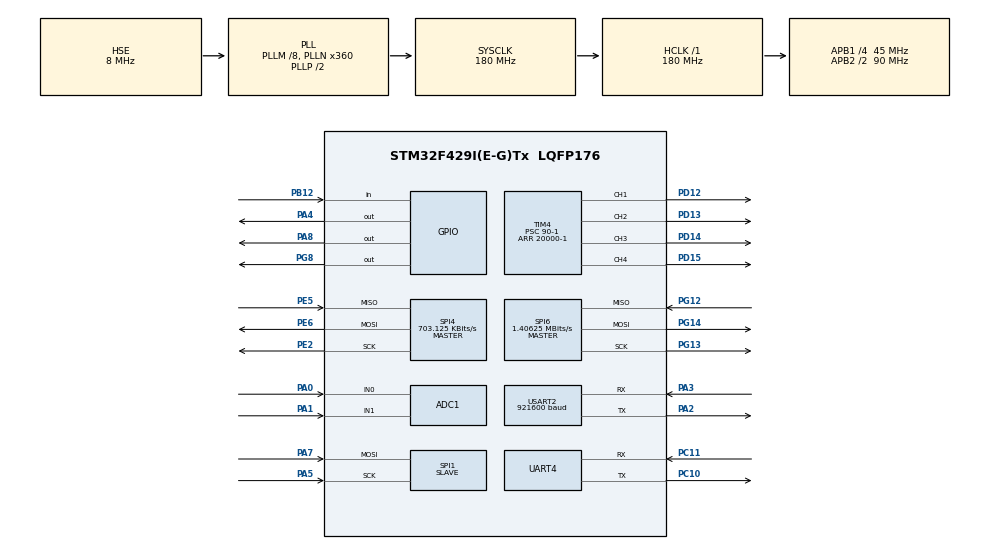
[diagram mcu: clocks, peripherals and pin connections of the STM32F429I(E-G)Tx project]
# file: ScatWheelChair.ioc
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ADC1.Channel-1\#ChannelRegularConversion=ADC_CHANNEL_0
ADC1.Channel-2\#ChannelRegularConversion=ADC_CHANNEL_1
ADC1.ClockPrescaler=ADC_CLOCK_SYNC_PCLK_DIV8
ADC1.ContinuousConvMode=ENABLE
ADC1.DMAContinuousRequests=ENABLE
ADC1.NbrOfConversion=2
ADC1.NbrOfConversionFlag=1
ADC1.Rank-1\#ChannelRegularConversion=1
ADC1.Rank-2\#ChannelRegularConversion=2
ADC1.SamplingTime-1\#ChannelRegularConversion=ADC_SAMPLETIME_112CYCLES
ADC1.SamplingTime-2\#ChannelRegularConversion=ADC_SAMPLETIME_112CYCLES
ADC1.ScanConvMode=ENABLE
ADC1.master=1
Dma.ADC1.0.Direction=DMA_PERIPH_TO_MEMORY
Dma.ADC1.0.FIFOMode=DMA_FIFOMODE_DISABLE
Dma.ADC1.0.Instance=DMA2_Stream0
Dma.ADC1.0.MemDataAlignment=DMA_MDATAALIGN_HALFWORD
Dma.ADC1.0.MemInc=DMA_MINC_ENABLE
Dma.ADC1.0.Mode=DMA_CIRCULAR
Dma.ADC1.0.PeriphDataAlignment=DMA_PDATAALIGN_HALFWORD
Dma.ADC1.0.PeriphInc=DMA_PINC_DISABLE
Dma.ADC1.0.Priority=DMA_PRIORITY_LOW
Dma.Request0=ADC1
Dma.Request1=USART2_RX
Dma.Request2=USART2_TX
Dma.Request3=SPI1_RX
Dma.SPI1_RX.3.Direction=DMA_PERIPH_TO_MEMORY
Dma.SPI1_RX.3.FIFOMode=DMA_FIFOMODE_DISABLE
Dma.SPI1_RX.3.Instance=DMA2_Stream2
Dma.SPI1_RX.3.MemDataAlignment=DMA_MDATAALIGN_BYTE
Dma.SPI1_RX.3.MemInc=DMA_MINC_ENABLE
Dma.SPI1_RX.3.Mode=DMA_CIRCULAR
Dma.SPI1_RX.3.PeriphDataAlignment=DMA_PDATAALIGN_BYTE
Dma.SPI1_RX.3.PeriphInc=DMA_PINC_DISABLE
Dma.SPI1_RX.3.Priority=DMA_PRIORITY_LOW
Dma.USART2_RX.1.Direction=DMA_PERIPH_TO_MEMORY
Dma.USART2_RX.1.FIFOMode=DMA_FIFOMODE_DISABLE
Dma.USART2_RX.1.Instance=DMA1_Stream5
Dma.USART2_RX.1.MemDataAlignment=DMA_MDATAALIGN_BYTE
Dma.USART2_RX.1.MemInc=DMA_MINC_ENABLE
Dma.USART2_RX.1.Mode=DMA_NORMAL
Dma.USART2_RX.1.PeriphDataAlignment=DMA_PDATAALIGN_BYTE
Dma.USART2_RX.1.PeriphInc=DMA_PINC_DISABLE
Dma.USART2_RX.1.Priority=DMA_PRIORITY_HIGH
Dma.USART2_TX.2.Direction=DMA_MEMORY_TO_PERIPH
Dma.USART2_TX.2.FIFOMode=DMA_FIFOMODE_DISABLE
Dma.USART2_TX.2.Instance=DMA1_Stream6
Dma.USART2_TX.2.MemDataAlignment=DMA_MDATAALIGN_BYTE
Dma.USART2_TX.2.MemInc=DMA_MINC_ENABLE
Dma.USART2_TX.2.Mode=DMA_NORMAL
Dma.USART2_TX.2.PeriphDataAlignment=DMA_PDATAALIGN_BYTE
Dma.USART2_TX.2.PeriphInc=DMA_PINC_DISABLE
Dma.USART2_TX.2.Priority=DMA_PRIORITY_HIGH
Mcu.Family=STM32F4
Mcu.Name=STM32F429I(E-G)Tx
Mcu.Package=LQFP176
NVIC.ADC_IRQn=true\:1\:0\:true\:false\:true\:true\:true
NVIC.DMA1_Stream5_IRQn=true\:1\:0\:true\:false\:true\:false\:true
NVIC.DMA1_Stream6_IRQn=true\:1\:0\:true\:false\:true\:false\:true
NVIC.DMA2_Stream0_IRQn=true\:1\:0\:true\:false\:true\:false\:true
NVIC.DMA2_Stream2_IRQn=true\:0\:0\:false\:false\:true\:false\:true
NVIC.PriorityGroup=NVIC_PRIORITYGROUP_4
NVIC.SPI1_IRQn=true\:0\:0\:false\:false\:true\:true\:true
NVIC.USART2_IRQn=true\:1\:0\:true\:false\:true\:true\:true
PA0/WKUP.Signal=ADCx_IN0
PA1.Signal=ADCx_IN1
PA13.Mode=Serial_Wire
PA13.Signal=SYS_JTMS-SWDIO
PA14.Mode=Serial_Wire
PA14.Signal=SYS_JTCK-SWCLK
PA2.Mode=Asynchronous
PA2.Signal=USART2_TX
PA3.Mode=Asynchronous
PA3.Signal=USART2_RX
PA4.GPIO_PuPd=GPIO_PULLUP
PA4.GPIO_Speed=GPIO_SPEED_FREQ_VERY_HIGH
PA4.Signal=GPIO_Output
PA5.GPIO_PuPd=GPIO_NOPULL
PA5.Mode=RX_Only_Simplex_Unidirect_Slave
PA5.Signal=SPI1_SCK
PA7.Mode=RX_Only_Simplex_Unidirect_Slave
PA7.Signal=SPI1_MOSI
PA8.GPIO_PuPd=GPIO_PULLDOWN
PA8.GPIO_Speed=GPIO_SPEED_FREQ_VERY_HIGH
PA8.PinState=GPIO_PIN_SET
PA8.Signal=GPIO_Output
PB12.GPIO_PuPd=GPIO_NOPULL
PB12.Signal=GPIO_Input
PC10.Mode=Asynchronous
PC10.Signal=UART4_TX
PC11.Mode=Asynchronous
PC11.Signal=UART4_RX
PD12.Signal=S_TIM4_CH1
PD13.Signal=S_TIM4_CH2
PD14.Signal=S_TIM4_CH3
PD15.Signal=S_TIM4_CH4
PE2.Mode=Full_Duplex_Master
PE2.Signal=SPI4_SCK
PE5.Mode=Full_Duplex_Master
PE5.Signal=SPI4_MISO
PE6.Mode=Full_Duplex_Master
PE6.Signal=SPI4_MOSI
PG12.Mode=Full_Duplex_Master
PG12.Signal=SPI6_MISO
PG13.Mode=Full_Duplex_Master
PG13.Signal=SPI6_SCK
PG14.Mode=Full_Duplex_Master
PG14.Signal=SPI6_MOSI
PG8.GPIO_PuPd=GPIO_PULLUP
PG8.GPIO_Speed=GPIO_SPEED_FREQ_VERY_HIGH
PG8.Signal=GPIO_Output
PH0/OSC_IN.Mode=HSE-External-Oscillator
PH0/OSC_IN.Signal=RCC_OSC_IN
PH1/OSC_OUT.Mode=HSE-External-Oscillator
PH1/OSC_OUT.Signal=RCC_OSC_OUT
ProjectManager.HeapSize=0x200
ProjectManager.StackSize=0x400
ProjectManager.TargetToolchain=STM32CubeIDE
RCC.48MHZClocksFreq_Value=90000000
RCC.AHBFreq_Value=180000000
RCC.APB1CLKDivider=RCC_HCLK_DIV4
RCC.APB1Freq_Value=45000000
RCC.APB1TimFreq_Value=90000000
RCC.APB2CLKDivider=RCC_HCLK_DIV2
RCC.APB2Freq_Value=90000000
RCC.APB2TimFreq_Value=180000000
RCC.CortexFreq_Value=180000000
RCC.HCLKFreq_Value=180000000
RCC.HSE_VALUE=8000000
RCC.HSI_VALUE=16000000
RCC.LSE_VALUE=32768
RCC.PLLM=8
RCC.PLLN=360
RCC.PLLSourceVirtual=RCC_PLLSOURCE_HSE
RCC.SYSCLKFreq_VALUE=180000000
RCC.SYSCLKSource=RCC_SYSCLKSOURCE_PLLCLK
RCC.VCOOutputFreq_Value=360000000
SH.ADCx_IN0.0=ADC1_IN0,IN0
SH.ADCx_IN1.0=ADC1_IN1,IN1
SH.S_TIM4_CH1.0=TIM4_CH1,PWM Generation1 CH1
SH.S_TIM4_CH2.0=TIM4_CH2,PWM Generation2 CH2
SH.S_TIM4_CH3.0=TIM4_CH3,PWM Generation3 CH3
SH.S_TIM4_CH4.0=TIM4_CH4,PWM Generation4 CH4
SPI1.CLKPolarity=SPI_POLARITY_LOW
SPI1.CRCCalculation=SPI_CRCCALCULATION_DISABLE
SPI1.Direction=SPI_DIRECTION_2LINES_RXONLY
SPI1.FirstBit=SPI_FIRSTBIT_MSB
SPI1.Mode=SPI_MODE_SLAVE
SPI1.VirtualType=VM_SLAVE
SPI4.BaudRatePrescaler=SPI_BAUDRATEPRESCALER_128
SPI4.CLKPhase=SPI_PHASE_2EDGE
SPI4.CLKPolarity=SPI_POLARITY_HIGH
SPI4.CalculateBaudRate=703.125 KBits/s
SPI4.Direction=SPI_DIRECTION_2LINES
SPI4.Mode=SPI_MODE_MASTER
SPI4.VirtualType=VM_MASTER
SPI6.BaudRatePrescaler=SPI_BAUDRATEPRESCALER_64
SPI6.CRCCalculation=SPI_CRCCALCULATION_DISABLE
SPI6.CalculateBaudRate=1.40625 MBits/s
SPI6.Direction=SPI_DIRECTION_2LINES
SPI6.Mode=SPI_MODE_MASTER
SPI6.VirtualType=VM_MASTER
TIM4.AutoReloadPreload=TIM_AUTORELOAD_PRELOAD_ENABLE
TIM4.Channel-PWM\ Generation1\ CH1=TIM_CHANNEL_1
TIM4.Channel-PWM\ Generation2\ CH2=TIM_CHANNEL_2
TIM4.Channel-PWM\ Generation3\ CH3=TIM_CHANNEL_3
TIM4.Channel-PWM\ Generation4\ CH4=TIM_CHANNEL_4
TIM4.Period=20000-1
TIM4.Prescaler=90-1
TIM4.Pulse-PWM\ Generation1\ CH1=1500
TIM4.Pulse-PWM\ Generation2\ CH2=1500
TIM4.Pulse-PWM\ Generation3\ CH3=1500
TIM4.Pulse-PWM\ Generation4\ CH4=1500
UART4.OverSampling=UART_OVERSAMPLING_8
UART4.VirtualMode=Asynchronous
USART2.BaudRate=921600
USART2.VirtualMode=VM_ASYNC
VP_TIM4_VS_ClockSourceINT.Mode=Internal
board=custom

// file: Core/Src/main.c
/* USER CODE BEGIN Header */
/**
 ******************************************************************************
 * @file           : main.c
 * @brief          : Main program body
 ******************************************************************************
 * @attention
 *
 * <h2><center>&copy; Copyright (c) 2020 STMicroelectronics.
 * All rights reserved.</center></h2>
 *
 * This software component is licensed by ST under BSD 3-Clause license,
 * the "License"; You may not use this file except in compliance with the
 * License. You may obtain a copy of the License at:
 *                        opensource.org/licenses/BSD-3-Clause
 *
 ******************************************************************************
 */
/* USER CODE END Header */
#include "main.h"

/* USER CODE BEGIN Includes */
#include <imu.h>
#include <encoder.h>
#include <pid.h>
#include <math.h>
#include <stdio.h>
//#include <bno055.h>
#include <dwt_delay.h>
/* USER CODE END Includes */

/* USER CODE BEGIN PD */
#define ROS_UART huart2
#define BRAKE_TIM htim4
#define BRAKE_CHANNEL CCR4
#define MOTOR_TIM htim4
#define LEFT_MOTOR_CHANNEL CCR3
#define RIGHT_MOTOR_CHANNEL CCR1

/* USER CODE END PD */

ADC_HandleTypeDef hadc1;
DMA_HandleTypeDef hdma_adc1;

SPI_HandleTypeDef hspi1;
SPI_HandleTypeDef hspi4;
SPI_HandleTypeDef hspi6;
DMA_HandleTypeDef hdma_spi1_rx;

TIM_HandleTypeDef htim4;

UART_HandleTypeDef huart4;
UART_HandleTypeDef huart2;
DMA_HandleTypeDef hdma_usart2_rx;
DMA_HandleTypeDef hdma_usart2_tx;

/* USER CODE BEGIN PV */
//Variables to store raw data from various sensors and uart
uint32_t joystick_raw;
int16_t acc[3], gyro[3];
uint16_t encoder[2];
uint8_t data_from_ros_raw[SIZE_DATA_FROM_ROS] = { 0 };

uint16_t e_stop = 1;

//Variables to store processed data
uint16_t joystick[2];
double joystick_filter = 0.025;
float velocity[2];
int16_t data_from_ros[SIZE_DATA_FROM_ROS / 2];

int16_t motor_command[2] = { 0 };
uint16_t data_to_ros[SIZE_DATA_TO_ROS] = { 0 };
uint8_t braked = 1; //Stores the brake status of left and right motors
double filtered_setpoint[2] = { 0 };
double setpoint_vel[2];
uint32_t brake_timer = 0;
uint32_t prev_uart_time = 0;
double engage_brakes_timeout = 5; //5s
double angular_output = 0;

//Velocity stuff
double target_heading, curr_heading;

//PID struct and their tunings. There's one PID controller for each motor
PID_Struct left_pid, right_pid, left_ramp_pid, right_ramp_pid, left_d_ramp_pid,
		right_d_ramp_pid;
double p = 0.0, i = 100.0, d = 0.0, f = 340, max_i_output = 40;
double pid_freq = 500;

//Feedforward outputs from experimental data, at x speed, what feedforward factor is required
//0.1 = 500, 0.2 = 450, 0.5 = 350, 0.7 = 320, 0.9 = 320
//Feedforward equation to line fit = y=290(x-0.9)^2 + 310

//Added for spi stm32
typedef union {
	float b32;		//original data
	uint8_t b8[4];	//data in byte size
} floatuint8_t;

uint32_t total_receive_num = 0;
uint32_t correct_receive_num = 0;
uint32_t incorrect_receive_num = 0;
uint32_t reset_num = 0;
uint8_t spi_rx_buf[11] = { 0 };
volatile floatuint8_t spi_enc[2] = { 0 };
uint32_t spi_rx_t = 0;
uint32_t diff_t = 0;
float prev_vel[2] = {0};
#define EXPONENTIAL_ALPHA 0.85

/* USER CODE END PV */

void SystemClock_Config(void);
static void MX_GPIO_Init(void);
static void MX_DMA_Init(void);
static void MX_TIM4_Init(void);
static void MX_ADC1_Init(void);
static void MX_SPI1_Init(void);
static void MX_USART2_UART_Init(void);
static void MX_SPI6_Init(void);
static void MX_SPI4_Init(void);
static void MX_UART4_Init(void);
/* USER CODE BEGIN PFP */
void setBrakes();
/* USER CODE END PFP */

int main(void) {

	/* MCU Configuration--------------------------------------------------------*/

	/* Reset of all peripherals, Initializes the Flash interface and the Systick. */
	HAL_Init();

	/* Configure the system clock */
	SystemClock_Config();

	/* USER CODE BEGIN SysInit */
	//Configure systick_callback rate and registration
	HAL_SYSTICK_Config(HAL_RCC_GetHCLKFreq() / FREQUENCY);
	HAL_SYSTICK_CLKSourceConfig(SYSTICK_CLKSOURCE_HCLK);
	HAL_NVIC_SetPriority(SysTick_IRQn, 0, 0);

	//Delay required for SPI encoder to startup
	HAL_Delay(100);
	/* USER CODE END SysInit */

	/* Initialize all configured peripherals */
	MX_GPIO_Init();
	MX_DMA_Init();
	MX_TIM4_Init();
	MX_ADC1_Init();
	MX_SPI1_Init();
	MX_USART2_UART_Init();
	MX_SPI6_Init();
	MX_SPI4_Init();
	MX_UART4_Init();
	/* USER CODE BEGIN 2 */
//  DWT_Init();
	//Start motor PWM pins
	HAL_TIM_Base_Start(&MOTOR_TIM);
	HAL_TIM_PWM_Start(&MOTOR_TIM, TIM_CHANNEL_1);
	HAL_TIM_PWM_Start(&MOTOR_TIM, TIM_CHANNEL_2);
	HAL_TIM_PWM_Start(&MOTOR_TIM, TIM_CHANNEL_3);

	//Start brake PWM pins
	HAL_TIM_PWM_Start(&BRAKE_TIM, TIM_CHANNEL_4);

	//Engage brakes
	BRAKE_TIM.Instance->BRAKE_CHANNEL = 1000;

	//Initialize IMU, check that it is connected
	IMU_Init();

	//Initialize BNO055
//  BNO055Init();

	//Start UART output
	HAL_UART_Transmit_DMA(&ROS_UART, (uint8_t*) data_to_ros,
			(uint16_t) SIZE_DATA_TO_ROS * 2);
	HAL_UART_Receive_DMA(&ROS_UART, data_from_ros_raw, SIZE_DATA_FROM_ROS);

	//********* WHEEL PID *********//
	double base_left_ramp_rate = 100;
	double base_right_ramp_rate = 100;
	double base_left_d_ramp_rate = 150;
	double base_right_d_ramp_rate = 150;

	//Setup right wheel PID
	PID_Init(&right_pid);
	PID_setPIDF(&right_pid, p, i, d, f);
	PID_setMaxIOutput(&right_pid, max_i_output);
	PID_setOutputLimits(&right_pid, -500, 500);
	PID_setFrequency(&right_pid, pid_freq);
	PID_setOutputRampRate(&right_pid, base_right_ramp_rate);
	PID_setOutputDescentRate(&right_pid, -base_right_d_ramp_rate);

	//Setup left wheel PID
	PID_Init(&left_pid);
	PID_setPIDF(&left_pid, p, i, d, f);
	PID_setMaxIOutput(&left_pid, max_i_output);
	PID_setOutputLimits(&left_pid, -500, 500);
	PID_setFrequency(&left_pid, pid_freq);
	PID_setOutputRampRate(&left_pid, base_left_ramp_rate);
	PID_setOutputDescentRate(&left_pid, -base_left_d_ramp_rate);

	//********* WHEEL ACCEL RAMP PID *********//
	double right_ramp_p = 100;
	double left_ramp_p = 100;
	double max_ramp_rate_inc = 300;
	//Setup right wheel ramp PID
	PID_Init(&right_ramp_pid);
	PID_setPIDF(&right_ramp_pid, right_ramp_p, 0, 0, 0);
	PID_setOutputLimits(&right_ramp_pid, 0, 400);
	PID_setOutputRampRate(&right_ramp_pid, max_ramp_rate_inc);
	PID_setOutputDescentRate(&right_ramp_pid, -max_ramp_rate_inc);
	PID_setFrequency(&right_ramp_pid, pid_freq);

	//Setup left wheel ramp PID
	PID_Init(&left_ramp_pid);
	PID_setPIDF(&left_ramp_pid, left_ramp_p, 0, 0, 0);
	PID_setOutputLimits(&left_ramp_pid, 0, 400);
	PID_setOutputRampRate(&left_ramp_pid, max_ramp_rate_inc);
	PID_setOutputDescentRate(&left_ramp_pid, -max_ramp_rate_inc);
	PID_setFrequency(&left_ramp_pid, pid_freq);

	//********* WHEEL DECEL RAMP PID *********//
	double right_d_ramp_p = 100;
	double left_d_ramp_p = 150;
	double right_max_d_ramp_rate_inc = 200;
	double left_max_d_ramp_rate_inc = 200;
	double max_d_increase = 550;
	//Setup right wheel d ramp PID
	PID_Init(&right_d_ramp_pid);
	PID_setPIDF(&right_d_ramp_pid, right_d_ramp_p, 0, 0, 0);
	PID_setOutputLimits(&right_d_ramp_pid, 0, max_d_increase);
	PID_setOutputRampRate(&right_d_ramp_pid, right_max_d_ramp_rate_inc);
	PID_setOutputDescentRate(&right_d_ramp_pid, -right_max_d_ramp_rate_inc);
	PID_setFrequency(&right_d_ramp_pid, pid_freq);

	//Setup left wheel d ramp PID
	PID_Init(&left_d_ramp_pid);
	PID_setPIDF(&left_d_ramp_pid, left_d_ramp_p, 0, 0, 0);
	PID_setOutputLimits(&left_d_ramp_pid, 0, max_d_increase);
	PID_setOutputRampRate(&left_d_ramp_pid, left_max_d_ramp_rate_inc);
	PID_setOutputDescentRate(&left_d_ramp_pid, -left_max_d_ramp_rate_inc);
	PID_setFrequency(&left_d_ramp_pid, pid_freq);

	HAL_SPI_Receive_DMA(&hspi1, spi_rx_buf, sizeof(spi_rx_buf));
	/* USER CODE END 2 */

	/* Infinite loop */
	/* USER CODE BEGIN WHILE */
	uint32_t prev_time = HAL_GetTick();
	while (1) {
		//Loop should execute once every 1 tick
		if (HAL_GetTick() - prev_time >= 1) {
			imuRead(acc, gyro, 0.2);
			e_stop = HAL_GPIO_ReadPin(GPIOB, GPIO_PIN_12);

			if (incorrect_receive_num > 100) {
				//Restart transmission
				HAL_SPI_Abort_IT(&hspi1);
				HAL_SPI_Receive_DMA(&hspi1, spi_rx_buf, sizeof(spi_rx_buf));
				incorrect_receive_num = 0;
				reset_num++;
			}
			else if(HAL_GetTick() - spi_rx_t  > 100){
				HAL_SPI_Receive_DMA(&hspi1, spi_rx_buf, sizeof(spi_rx_buf));
			}

			//use speed from data_from_ros array, pass on to motors, ensure the data is valid by checking end bit
			if ((uint16_t) data_from_ros[SIZE_DATA_FROM_ROS / 2 - 1]
					== 0xFFFB) {
				//Data received from ros is integer format, multiplied by 1000
				setpoint_vel[LEFT_INDEX] = (double) data_from_ros[0] / 1000.0;
				setpoint_vel[RIGHT_INDEX] = (double) data_from_ros[1] / 1000.0;

				//Heading is synonymous to radius of curvature for given velocity pair
				double target_angular = (setpoint_vel[RIGHT_INDEX]
						- setpoint_vel[LEFT_INDEX]);
				double curr_angular = (velocity[RIGHT_INDEX]
						- velocity[LEFT_INDEX]);
				double target_linear = (setpoint_vel[RIGHT_INDEX]
						+ setpoint_vel[LEFT_INDEX]) / 2.0;
				double curr_linear = (velocity[RIGHT_INDEX]
						+ velocity[LEFT_INDEX]) / 2.0;
				target_heading = atan2(target_linear, target_angular);
				curr_heading = atan2(curr_linear, curr_angular);

				//This case might happen when curr_heading is M_PI and target_heading is -M_PI
				//In this case, both values should be equal signs
				if (target_heading == M_PI || curr_heading == M_PI) {
					curr_heading = fabs(curr_heading);
					target_heading = fabs(target_heading);
				}

				//When angular_output negative, right wheel is slower
				//When angular_output positive, left wheel is slower
				double new_angular_output = (target_heading - curr_heading)
						/ M_PI;
				int sign = new_angular_output / fabs(new_angular_output);

				//Sigmoid curve to make new_angular_output more sensitive in mid range (~0.5)
				//~0.5 is max value that occurs when going from pure rotation to pure forward
				new_angular_output = 1
						/ (1 + exp(-15 * (fabs(new_angular_output) - 0.35)))
						* sign;

				//Small velocities cause large changes to heading due to noise
				//Set difference to 0 if below threshold, no correction
				if (fabs(velocity[LEFT_INDEX]) < 0.1
						&& fabs(velocity[RIGHT_INDEX]) < 0.1)
					new_angular_output = 0;

				double angular_output_filt = 0.0;
				angular_output = angular_output_filt * (angular_output)
						+ (1 - angular_output_filt) * new_angular_output;
				//Amount of penalty to setpoint depends on how far away from the target heading
				//Scale may increase over 100%, but does not matter as the heading approaches target heading
				//scale will approach 100%
				if (setpoint_vel[LEFT_INDEX] != 0.0
						|| setpoint_vel[RIGHT_INDEX] != 0.0) {
					setpoint_vel[LEFT_INDEX] *= (1 + angular_output);
					setpoint_vel[RIGHT_INDEX] *= (1 - angular_output);
				}

				/**
				 * Motor FEEDFORWARD params
				 */
				double f_left = 290
						* pow(fabs(setpoint_vel[LEFT_INDEX]) - 0.9, 2) + 310;
				double f_right = 290
						* pow(fabs(setpoint_vel[RIGHT_INDEX]) - 0.9, 2) + 310;

				//Upper bound on feedforward equation
				if (setpoint_vel[LEFT_INDEX] > 1.0)
					f_left = 310;
				if (setpoint_vel[RIGHT_INDEX] > 1.0)
					f_right = 310;

				PID_setF(&left_pid, f_left);
				PID_setF(&right_pid, f_right);

				//If e stop engaged, override setpoints to 0
				if (e_stop == 1) {
					setpoint_vel[LEFT_INDEX] = 0;
					setpoint_vel[RIGHT_INDEX] = 0;
				}

				//If data is old, set setpoint to 0
				else if ((HAL_GetTick() - prev_uart_time) > FREQUENCY * 0.2) {
					setpoint_vel[LEFT_INDEX] = 0;
					setpoint_vel[RIGHT_INDEX] = 0;
					HAL_UART_Receive_DMA(&ROS_UART, data_from_ros_raw,
					SIZE_DATA_FROM_ROS);
				}

				//Unbrake motors if there is command, brake otherwise
				setBrakes();

				//Ensure there is a commanded velocity, otherwise reset PID
				if (fabs(setpoint_vel[LEFT_INDEX]) == 0
						&& fabs(velocity[LEFT_INDEX]) < 0.05) {
					motor_command[LEFT_INDEX] = 0;
					PID_reset(&left_pid);
				}

				else if (!braked) {
					//ACCELERATE
					{
						double new_left_ramp = base_left_ramp_rate
								+ PID_getOutput(&left_ramp_pid,
										fabs(velocity[LEFT_INDEX]),
										fabs(setpoint_vel[LEFT_INDEX]));
						PID_setOutputRampRate(&left_pid, new_left_ramp);
					}

					//DECELERATE
					{
						double new_left_ramp = base_left_d_ramp_rate
								+ PID_getOutput(&left_d_ramp_pid,
										fabs(setpoint_vel[LEFT_INDEX]),
										fabs(velocity[LEFT_INDEX]));
						PID_setOutputDescentRate(&left_pid, -new_left_ramp);
					}

					motor_command[LEFT_INDEX] = PID_getOutput(&left_pid,
							velocity[LEFT_INDEX], setpoint_vel[LEFT_INDEX]);
				}

				//Ensure there is a commanded velocity, otherwise reset PID
				if (fabs(setpoint_vel[RIGHT_INDEX]) == 0
						&& fabs(velocity[RIGHT_INDEX]) < 0.05) {
					motor_command[RIGHT_INDEX] = 0;
					PID_reset(&right_pid);
				}

				else if (!braked) {

					//ACCELERATE
					{
						double new_right_ramp = base_right_ramp_rate
								+ PID_getOutput(&right_ramp_pid,
										fabs(velocity[RIGHT_INDEX]),
										fabs(setpoint_vel[RIGHT_INDEX]));
						PID_setOutputRampRate(&right_pid, new_right_ramp);
					}

					//DECELERATE
					{
						double new_right_ramp = base_right_d_ramp_rate
								+ PID_getOutput(&right_d_ramp_pid,
										fabs(setpoint_vel[RIGHT_INDEX]),
										fabs(velocity[RIGHT_INDEX]));
						PID_setOutputDescentRate(&right_pid, -new_right_ramp);
					}

					motor_command[RIGHT_INDEX] = PID_getOutput(&right_pid,
							velocity[RIGHT_INDEX], setpoint_vel[RIGHT_INDEX]);
				}

				//Send PID commands to motor
				MOTOR_TIM.Instance->RIGHT_MOTOR_CHANNEL =
						motor_command[LEFT_INDEX] + 1500;
				MOTOR_TIM.Instance->LEFT_MOTOR_CHANNEL =
						motor_command[RIGHT_INDEX] + 1500;

			}

			prev_time = HAL_GetTick();
		}
		/* USER CODE END WHILE */

	}
}

void SystemClock_Config(void) {
	RCC_OscInitTypeDef RCC_OscInitStruct = { 0 };
	RCC_ClkInitTypeDef RCC_ClkInitStruct = { 0 };

	/** Configure the main internal regulator output voltage
	 */
	__HAL_RCC_PWR_CLK_ENABLE();
	__HAL_PWR_VOLTAGESCALING_CONFIG(PWR_REGULATOR_VOLTAGE_SCALE1);
	/** Initializes the RCC Oscillators according to the specified parameters
	 * in the RCC_OscInitTypeDef structure.
	 */
	RCC_OscInitStruct.OscillatorType = RCC_OSCILLATORTYPE_HSE;
	RCC_OscInitStruct.HSEState = RCC_HSE_ON;
	RCC_OscInitStruct.PLL.PLLState = RCC_PLL_ON;
	RCC_OscInitStruct.PLL.PLLSource = RCC_PLLSOURCE_HSE;
	RCC_OscInitStruct.PLL.PLLM = 8;
	RCC_OscInitStruct.PLL.PLLN = 360;
	RCC_OscInitStruct.PLL.PLLP = RCC_PLLP_DIV2;
	RCC_OscInitStruct.PLL.PLLQ = 4;
	if (HAL_RCC_OscConfig(&RCC_OscInitStruct) != HAL_OK) {
		Error_Handler();
	}
	/** Activate the Over-Drive mode
	 */
	if (HAL_PWREx_EnableOverDrive() != HAL_OK) {
		Error_Handler();
	}
	/** Initializes the CPU, AHB and APB buses clocks
	 */
	RCC_ClkInitStruct.ClockType = RCC_CLOCKTYPE_HCLK | RCC_CLOCKTYPE_SYSCLK
			| RCC_CLOCKTYPE_PCLK1 | RCC_CLOCKTYPE_PCLK2;
	RCC_ClkInitStruct.SYSCLKSource = RCC_SYSCLKSOURCE_PLLCLK;
	RCC_ClkInitStruct.AHBCLKDivider = RCC_SYSCLK_DIV1;
	RCC_ClkInitStruct.APB1CLKDivider = RCC_HCLK_DIV4;
	RCC_ClkInitStruct.APB2CLKDivider = RCC_HCLK_DIV2;

	if (HAL_RCC_ClockConfig(&RCC_ClkInitStruct, FLASH_LATENCY_5) != HAL_OK) {
		Error_Handler();
	}
}

static void MX_ADC1_Init(void) {

	ADC_ChannelConfTypeDef sConfig = { 0 };

	/** Configure the global features of the ADC (Clock, Resolution, Data Alignment and number of conversion)
	 */
	hadc1.Instance = ADC1;
	hadc1.Init.ClockPrescaler = ADC_CLOCK_SYNC_PCLK_DIV8;
	hadc1.Init.Resolution = ADC_RESOLUTION_12B;
	hadc1.Init.ScanConvMode = ENABLE;
	hadc1.Init.ContinuousConvMode = ENABLE;
	hadc1.Init.DiscontinuousConvMode = DISABLE;
	hadc1.Init.ExternalTrigConvEdge = ADC_EXTERNALTRIGCONVEDGE_NONE;
	hadc1.Init.ExternalTrigConv = ADC_SOFTWARE_START;
	hadc1.Init.DataAlign = ADC_DATAALIGN_RIGHT;
	hadc1.Init.NbrOfConversion = 2;
	hadc1.Init.DMAContinuousRequests = ENABLE;
	hadc1.Init.EOCSelection = ADC_EOC_SINGLE_CONV;
	if (HAL_ADC_Init(&hadc1) != HAL_OK) {
		Error_Handler();
	}
	/** Configure for the selected ADC regular channel its corresponding rank in the sequencer and its sample time.
	 */
	sConfig.Channel = ADC_CHANNEL_0;
	sConfig.Rank = 1;
	sConfig.SamplingTime = ADC_SAMPLETIME_112CYCLES;
	if (HAL_ADC_ConfigChannel(&hadc1, &sConfig) != HAL_OK) {
		Error_Handler();
	}
	/** Configure for the selected ADC regular channel its corresponding rank in the sequencer and its sample time.
	 */
	sConfig.Channel = ADC_CHANNEL_1;
	sConfig.Rank = 2;
	if (HAL_ADC_ConfigChannel(&hadc1, &sConfig) != HAL_OK) {
		Error_Handler();
	}
	/* USER CODE BEGIN ADC1_Init 2 */
	HAL_ADC_Start_DMA(&hadc1, &joystick_raw, 2);
	/* USER CODE END ADC1_Init 2 */

}

static void MX_SPI1_Init(void) {

	/* SPI1 parameter configuration*/
	hspi1.Instance = SPI1;
	hspi1.Init.Mode = SPI_MODE_SLAVE;
	hspi1.Init.Direction = SPI_DIRECTION_2LINES_RXONLY;
	hspi1.Init.DataSize = SPI_DATASIZE_8BIT;
	hspi1.Init.CLKPolarity = SPI_POLARITY_LOW;
	hspi1.Init.CLKPhase = SPI_PHASE_1EDGE;
	hspi1.Init.NSS = SPI_NSS_SOFT;
	hspi1.Init.FirstBit = SPI_FIRSTBIT_MSB;
	hspi1.Init.TIMode = SPI_TIMODE_DISABLE;
	hspi1.Init.CRCCalculation = SPI_CRCCALCULATION_DISABLE;
	hspi1.Init.CRCPolynomial = 10;
	if (HAL_SPI_Init(&hspi1) != HAL_OK) {
		Error_Handler();
	}

}

static void MX_SPI4_Init(void) {

	/* SPI4 parameter configuration*/
	hspi4.Instance = SPI4;
	hspi4.Init.Mode = SPI_MODE_MASTER;
	hspi4.Init.Direction = SPI_DIRECTION_2LINES;
	hspi4.Init.DataSize = SPI_DATASIZE_8BIT;
	hspi4.Init.CLKPolarity = SPI_POLARITY_HIGH;
	hspi4.Init.CLKPhase = SPI_PHASE_2EDGE;
	hspi4.Init.NSS = SPI_NSS_SOFT;
	hspi4.Init.BaudRatePrescaler = SPI_BAUDRATEPRESCALER_128;
	hspi4.Init.FirstBit = SPI_FIRSTBIT_MSB;
	hspi4.Init.TIMode = SPI_TIMODE_DISABLE;
	hspi4.Init.CRCCalculation = SPI_CRCCALCULATION_DISABLE;
	hspi4.Init.CRCPolynomial = 10;
	if (HAL_SPI_Init(&hspi4) != HAL_OK) {
		Error_Handler();
	}

}

static void MX_SPI6_Init(void) {

	/* SPI6 parameter configuration*/
	hspi6.Instance = SPI6;
	hspi6.Init.Mode = SPI_MODE_MASTER;
	hspi6.Init.Direction = SPI_DIRECTION_2LINES;
	hspi6.Init.DataSize = SPI_DATASIZE_8BIT;
	hspi6.Init.CLKPolarity = SPI_POLARITY_LOW;
	hspi6.Init.CLKPhase = SPI_PHASE_1EDGE;
	hspi6.Init.NSS = SPI_NSS_SOFT;
	hspi6.Init.BaudRatePrescaler = SPI_BAUDRATEPRESCALER_64;
	hspi6.Init.FirstBit = SPI_FIRSTBIT_MSB;
	hspi6.Init.TIMode = SPI_TIMODE_DISABLE;
	hspi6.Init.CRCCalculation = SPI_CRCCALCULATION_DISABLE;
	hspi6.Init.CRCPolynomial = 10;
	if (HAL_SPI_Init(&hspi6) != HAL_OK) {
		Error_Handler();
	}

}

static void MX_TIM4_Init(void) {

	TIM_ClockConfigTypeDef sClockSourceConfig = { 0 };
	TIM_MasterConfigTypeDef sMasterConfig = { 0 };
	TIM_OC_InitTypeDef sConfigOC = { 0 };

	htim4.Instance = TIM4;
	htim4.Init.Prescaler = 90 - 1;
	htim4.Init.CounterMode = TIM_COUNTERMODE_UP;
	htim4.Init.Period = 20000 - 1;
	htim4.Init.ClockDivision = TIM_CLOCKDIVISION_DIV1;
	htim4.Init.AutoReloadPreload = TIM_AUTORELOAD_PRELOAD_ENABLE;
	if (HAL_TIM_Base_Init(&htim4) != HAL_OK) {
		Error_Handler();
	}
	sClockSourceConfig.ClockSource = TIM_CLOCKSOURCE_INTERNAL;
	if (HAL_TIM_ConfigClockSource(&htim4, &sClockSourceConfig) != HAL_OK) {
		Error_Handler();
	}
	if (HAL_TIM_PWM_Init(&htim4) != HAL_OK) {
		Error_Handler();
	}
	sMasterConfig.MasterOutputTrigger = TIM_TRGO_RESET;
	sMasterConfig.MasterSlaveMode = TIM_MASTERSLAVEMODE_DISABLE;
	if (HAL_TIMEx_MasterConfigSynchronization(&htim4, &sMasterConfig)
			!= HAL_OK) {
		Error_Handler();
	}
	sConfigOC.OCMode = TIM_OCMODE_PWM1;
	sConfigOC.Pulse = 1500;
	sConfigOC.OCPolarity = TIM_OCPOLARITY_HIGH;
	sConfigOC.OCFastMode = TIM_OCFAST_DISABLE;
	if (HAL_TIM_PWM_ConfigChannel(&htim4, &sConfigOC, TIM_CHANNEL_1)
			!= HAL_OK) {
		Error_Handler();
	}
	if (HAL_TIM_PWM_ConfigChannel(&htim4, &sConfigOC, TIM_CHANNEL_2)
			!= HAL_OK) {
		Error_Handler();
	}
	if (HAL_TIM_PWM_ConfigChannel(&htim4, &sConfigOC, TIM_CHANNEL_3)
			!= HAL_OK) {
		Error_Handler();
	}
	if (HAL_TIM_PWM_ConfigChannel(&htim4, &sConfigOC, TIM_CHANNEL_4)
			!= HAL_OK) {
		Error_Handler();
	}
	HAL_TIM_MspPostInit(&htim4);

}

static void MX_UART4_Init(void) {

	huart4.Instance = UART4;
	huart4.Init.BaudRate = 115200;
	huart4.Init.WordLength = UART_WORDLENGTH_8B;
	huart4.Init.StopBits = UART_STOPBITS_1;
	huart4.Init.Parity = UART_PARITY_NONE;
	huart4.Init.Mode = UART_MODE_TX_RX;
	huart4.Init.HwFlowCtl = UART_HWCONTROL_NONE;
	huart4.Init.OverSampling = UART_OVERSAMPLING_8;
	if (HAL_UART_Init(&huart4) != HAL_OK) {
		Error_Handler();
	}

}

static void MX_USART2_UART_Init(void) {

	huart2.Instance = USART2;
//	huart2.Init.BaudRate = 576000;
	huart2.Init.BaudRate = 230400;
	huart2.Init.WordLength = UART_WORDLENGTH_8B;
	huart2.Init.StopBits = UART_STOPBITS_1;
	huart2.Init.Parity = UART_PARITY_NONE;
	huart2.Init.Mode = UART_MODE_TX_RX;
	huart2.Init.HwFlowCtl = UART_HWCONTROL_NONE;
	huart2.Init.OverSampling = UART_OVERSAMPLING_16;
	if (HAL_UART_Init(&huart2) != HAL_OK) {
		Error_Handler();
	}

}

static void MX_DMA_Init(void) {

	/* DMA controller clock enable */
	__HAL_RCC_DMA2_CLK_ENABLE();
	__HAL_RCC_DMA1_CLK_ENABLE();

	/* DMA interrupt init */
	/* DMA1_Stream5_IRQn interrupt configuration */
	HAL_NVIC_SetPriority(DMA1_Stream5_IRQn, 1, 0);
	HAL_NVIC_EnableIRQ(DMA1_Stream5_IRQn);
	/* DMA1_Stream6_IRQn interrupt configuration */
	HAL_NVIC_SetPriority(DMA1_Stream6_IRQn, 1, 0);
	HAL_NVIC_EnableIRQ(DMA1_Stream6_IRQn);
	/* DMA2_Stream0_IRQn interrupt configuration */
	HAL_NVIC_SetPriority(DMA2_Stream0_IRQn, 1, 0);
	HAL_NVIC_EnableIRQ(DMA2_Stream0_IRQn);
	/* DMA2_Stream2_IRQn interrupt configuration */
	HAL_NVIC_SetPriority(DMA2_Stream2_IRQn, 0, 0);
	HAL_NVIC_EnableIRQ(DMA2_Stream2_IRQn);

}

static void MX_GPIO_Init(void) {
	GPIO_InitTypeDef GPIO_InitStruct = { 0 };

	/* GPIO Ports Clock Enable */
	__HAL_RCC_GPIOE_CLK_ENABLE();
	__HAL_RCC_GPIOH_CLK_ENABLE();
	__HAL_RCC_GPIOA_CLK_ENABLE();
	__HAL_RCC_GPIOB_CLK_ENABLE();
	__HAL_RCC_GPIOD_CLK_ENABLE();
	__HAL_RCC_GPIOG_CLK_ENABLE();
	__HAL_RCC_GPIOC_CLK_ENABLE();

	/*Configure GPIO pin Output Level */
	HAL_GPIO_WritePin(GPIOA, GPIO_PIN_4, GPIO_PIN_RESET);

	/*Configure GPIO pin Output Level */
	HAL_GPIO_WritePin(GPIOG, GPIO_PIN_8, GPIO_PIN_RESET);

	/*Configure GPIO pin Output Level */
	HAL_GPIO_WritePin(GPIOA, GPIO_PIN_8, GPIO_PIN_SET);

	/*Configure GPIO pin : PA4 */
	GPIO_InitStruct.Pin = GPIO_PIN_4;
	GPIO_InitStruct.Mode = GPIO_MODE_OUTPUT_PP;
	GPIO_InitStruct.Pull = GPIO_PULLUP;
	GPIO_InitStruct.Speed = GPIO_SPEED_FREQ_VERY_HIGH;
	HAL_GPIO_Init(GPIOA, &GPIO_InitStruct);

	/*Configure GPIO pin : PB12 */
	GPIO_InitStruct.Pin = GPIO_PIN_12;
	GPIO_InitStruct.Mode = GPIO_MODE_INPUT;
	GPIO_InitStruct.Pull = GPIO_NOPULL;
	HAL_GPIO_Init(GPIOB, &GPIO_InitStruct);

	/*Configure GPIO pin : PG8 */
	GPIO_InitStruct.Pin = GPIO_PIN_8;
	GPIO_InitStruct.Mode = GPIO_MODE_OUTPUT_PP;
	GPIO_InitStruct.Pull = GPIO_PULLUP;
	GPIO_InitStruct.Speed = GPIO_SPEED_FREQ_VERY_HIGH;
	HAL_GPIO_Init(GPIOG, &GPIO_InitStruct);

	/*Configure GPIO pin : PA8 */
	GPIO_InitStruct.Pin = GPIO_PIN_8;
	GPIO_InitStruct.Mode = GPIO_MODE_OUTPUT_PP;
	GPIO_InitStruct.Pull = GPIO_PULLDOWN;
	GPIO_InitStruct.Speed = GPIO_SPEED_FREQ_VERY_HIGH;
	HAL_GPIO_Init(GPIOA, &GPIO_InitStruct);

}

/* USER CODE BEGIN 4 */
void HAL_ADC_ConvCpltCallback(ADC_HandleTypeDef *hadc) {
	//If adc callback by joystick adc
	if (hadc == &hadc1) {
		//Both channels of ADC (channel 0 and channel 1) are each 16 bit
		//Both are stored in joystick_raw, a 32bit unsigned int
		//Separate both readings in the below code into 2 variables
		joystick[1] = joystick[1] * (1 - joystick_filter)
				+ (joystick_raw & 0x0000FFFF) * joystick_filter;
		joystick[0] = joystick[0] * (1 - joystick_filter)
				+ (joystick_raw >> 16) * joystick_filter;
	}
}

// UART data reception callback function
void HAL_UART_RxCpltCallback(UART_HandleTypeDef *huart) {
	static int huart_synchronized = 0;
	static uint8_t synchronize_data;
	if (huart == &ROS_UART) {
		//Serial connection to ROS might have been made midway through a full packet
		//Therefore, read the packets 1 by 1 until the end byte is reached.
		//Once reached, then uart from ros to stm32 is synchronized, read all bytes as normal after that
		if (huart_synchronized < 2) {
			//LSB First, check byte is 0xFFFB
			if (huart_synchronized == 0) {
				if (synchronize_data == 0xFB)
					huart_synchronized++;
			}

			else {
				if (synchronize_data == 0xFF)
					huart_synchronized++;
			}

			//Check if uart is still not synchronized. If not, then continue receiving single bytes
			if (huart_synchronized < 2) {
				HAL_UART_Receive_DMA(&ROS_UART, &synchronize_data, 1);
				return;
			}

			//Else start receiving all the bytes from ROS like normal
			else {
				HAL_UART_Receive_DMA(&ROS_UART, data_from_ros_raw,
				SIZE_DATA_FROM_ROS);
				return;
			}
		}

		//Receive buffer is already synchronized
		else {
			//Mark previous UART time
			prev_uart_time = HAL_GetTick();

			//Combine check bit to ensure uart is still synchronized, otherwise reset synchronized flag
			data_from_ros[SIZE_DATA_FROM_ROS / 2 - 1] =
					(int16_t) data_from_ros_raw[SIZE_DATA_FROM_ROS - 1] << 8
							| data_from_ros_raw[SIZE_DATA_FROM_ROS - 2];
			if ((uint16_t) data_from_ros[SIZE_DATA_FROM_ROS / 2 - 1]
					== 0xFFFB) {
				//Combine 8bit data to 16bit, for use in main while loop
				for (int i = 0; i < SIZE_DATA_FROM_ROS; i += 2)
					data_from_ros[i / 2] = (int16_t) data_from_ros_raw[i + 1]
							<< 8 | (int16_t) data_from_ros_raw[i];

				//Receive next data from ROS
				HAL_UART_Receive_DMA(&ROS_UART, data_from_ros_raw,
				SIZE_DATA_FROM_ROS);
				return;
			}

			//Data is no longer synchronized, reset
			else {
				huart_synchronized = 0;
				HAL_UART_Receive_DMA(&ROS_UART, &synchronize_data, 1);
				return;
			}

		}
	}
}

void HAL_UART_TxCpltCallback(UART_HandleTypeDef *huart) {
	//Callback triggeredby TX complete to ROS
	if (huart == &ROS_UART) {
		//Joystick values are raw ADC values, integer format
		data_to_ros[0] = joystick[1];
		data_to_ros[1] = joystick[0];

		//Convert velocity to integer for transferring. ROS node will divide the result by 1000
		data_to_ros[2] = (int16_t) (velocity[LEFT_INDEX] * 1000);
		data_to_ros[3] = (int16_t) (velocity[RIGHT_INDEX] * 1000);

		//Acceleration and gyro is in raw format from IMU, int16_t
		data_to_ros[4] = acc[0];
		data_to_ros[5] = acc[1];
		data_to_ros[6] = acc[2];

		data_to_ros[7] = gyro[0];
		data_to_ros[8] = gyro[1];
		data_to_ros[9] = gyro[2];

		data_to_ros[10] = e_stop;

		data_to_ros[11] = (uint16_t) 0xabcd;

		//Send data to ros again
		//Force STM32 to treat data_to_ros as a uint8_t pointer array as that is what's required.
		//Data will get sent along as normal, then ROS end can combine 2 bytes of data to get original data
		HAL_UART_Transmit_DMA(&ROS_UART, (uint8_t*) data_to_ros,
				(uint16_t) SIZE_DATA_TO_ROS * 2);
	}
}

void setBrakes() {
	if ((setpoint_vel[LEFT_INDEX] != 0 || setpoint_vel[RIGHT_INDEX] != 0)) {
		BRAKE_TIM.Instance->BRAKE_CHANNEL = 2000;
		braked = 0;
		brake_timer = 0;
	}

	else if (setpoint_vel[LEFT_INDEX] == 0 && setpoint_vel[RIGHT_INDEX] == 0) {
		if (fabs(velocity[LEFT_INDEX]) < 0.05
				&& fabs(velocity[RIGHT_INDEX]) < 0.05) {
			//Start timer before braking
			if (brake_timer == 0)
				brake_timer = HAL_GetTick();

			else if (HAL_GetTick()
					- brake_timer> engage_brakes_timeout * FREQUENCY) {
				BRAKE_TIM.Instance->BRAKE_CHANNEL = 1000;
				braked = 1;
				brake_timer = 0;
			}
		}
	}
}
static double filt_vel[2] = {
		0
	};
	static double unfilt_vel[2] = {
			0
		};
	static double prev_velo[2] = {
		0
	};

uint32_t unsync = 0;
void HAL_SPI_RxCpltCallback(SPI_HandleTypeDef *hspi) {
	/* NOTE : This function should not be modified, when the callback is needed,
	 the HAL_SPI_RxCpltCallback should be implemented in the user file
	 */

	if (hspi == &hspi1) {
		total_receive_num += 1;
		uint16_t checksum = 0;
		for (int i = 0; i < 8; i++)
			checksum += spi_rx_buf[i];

		//If SPI is not in sync
		if (HAL_GetTick() - spi_rx_t> 1){
			unsync+=1;
			spi_rx_t = HAL_GetTick();
			HAL_SPI_Receive_DMA(&hspi1, spi_rx_buf, sizeof(spi_rx_buf));
			return;
		}

		if (spi_rx_buf[0] == 0xAE && (spi_rx_buf[9] == (uint8_t) (checksum & 0xff))
				&& (spi_rx_buf[10] == (uint8_t) ((checksum >> 8) & 0xff))) {
			    floatuint8_t spi_enc[2];
			    spi_enc[LEFT_INDEX].b8[0] = spi_rx_buf[1];
			    spi_enc[LEFT_INDEX].b8[1] = spi_rx_buf[2];
			    spi_enc[LEFT_INDEX].b8[2] = spi_rx_buf[3];
			    spi_enc[LEFT_INDEX].b8[3] = spi_rx_buf[4];
			    spi_enc[RIGHT_INDEX].b8[0] = spi_rx_buf[5];
			    spi_enc[RIGHT_INDEX].b8[1] = spi_rx_buf[6];
			    spi_enc[RIGHT_INDEX].b8[2] = spi_rx_buf[7];
			    spi_enc[RIGHT_INDEX].b8[3] = spi_rx_buf[8];
			//Correct the sign
			spi_enc[LEFT_INDEX].b32 *= -1;
			diff_t = HAL_GetTick() - spi_rx_t;
			spi_rx_t = HAL_GetTick();
			correct_receive_num += 1;

			//Exponential filter for each velocity
			unfilt_vel[LEFT_INDEX] = spi_enc[LEFT_INDEX].b32 * WHEEL_DIA * 0.5;
			unfilt_vel[RIGHT_INDEX] = spi_enc[RIGHT_INDEX].b32 * WHEEL_DIA * 0.5;

		    // Sometimes data gets lost and spikes are seen in the velocity readouts.
		    // This is solved by limiting the max difference between subsequent velocity readouts.
		    // If acceleration is passed, just update velocity within acceleration limits
//		    double dt = (double) diff_t / FREQUENCY;

//		    if (dt != 0) {
//			double right_acc = (unfilt_vel[RIGHT_INDEX] - prev_velo[RIGHT_INDEX]) / dt;
//			double left_acc = (unfilt_vel[LEFT_INDEX] - prev_velo[LEFT_INDEX]) / dt;
//
//			if (fabs(right_acc) > WHEEL_ACC_LIMIT) {
//			    unfilt_vel[RIGHT_INDEX] = prev_velo[RIGHT_INDEX]
//				    + WHEEL_ACC_LIMIT * dt * (right_acc / fabs(right_acc));
//			}
//
//			if (fabs(left_acc) > WHEEL_ACC_LIMIT) {
//			    unfilt_vel[LEFT_INDEX] = prev_velo[LEFT_INDEX] + WHEEL_ACC_LIMIT * dt * (left_acc / fabs(left_acc));
//
//		    }
//		    }
			velocity[LEFT_INDEX] = 0.85 * filt_vel[LEFT_INDEX] + 0.075 * unfilt_vel[LEFT_INDEX]
				+ 0.075 * prev_velo[LEFT_INDEX];
			velocity[RIGHT_INDEX] = 0.85 * filt_vel[RIGHT_INDEX] + 0.075 * unfilt_vel[RIGHT_INDEX]
				+ 0.075 * prev_velo[RIGHT_INDEX];

			velocity[LEFT_INDEX] = (fabs(velocity[LEFT_INDEX]) < 0.01) ? 0 : velocity[LEFT_INDEX];
			velocity[RIGHT_INDEX] = (fabs(velocity[RIGHT_INDEX]) < 0.01) ? 0 : velocity[RIGHT_INDEX];
			filt_vel[LEFT_INDEX] = velocity[LEFT_INDEX];
			filt_vel[RIGHT_INDEX] = velocity[RIGHT_INDEX];
			prev_velo[LEFT_INDEX] = unfilt_vel[LEFT_INDEX];
			prev_velo[RIGHT_INDEX] = unfilt_vel[RIGHT_INDEX];

		} else {
			incorrect_receive_num += 1;
		}

		HAL_SPI_Receive_DMA(&hspi1, spi_rx_buf, sizeof(spi_rx_buf));
//	HAL_SPI_Transmit_DMA(&hspi1, (uint8_t*) spi_tx_buf, sizeof(spi_tx_buf) );
	}
}

uint16_t error_count = 0;
void HAL_SPI_ErrorCallback(SPI_HandleTypeDef *hspi)
{
  /* Prevent unused argument(s) compilation warning */
  UNUSED(hspi);

  /* NOTE : This function should not be modified, when the callback is needed,
            the HAL_SPI_ErrorCallback should be implemented in the user file
   */
  /* NOTE : The ErrorCode parameter in the hspi handle is updated by the SPI processes
            and user can use HAL_SPI_GetError() API to check the latest error occurred
   */
  error_count++;
  HAL_SPI_Abort_IT(&hspi1);
  HAL_SPI_Receive_DMA(&hspi1, spi_rx_buf, sizeof(spi_rx_buf));

}

void HAL_UART_ErrorCallback(UART_HandleTypeDef *huart)
{
  /* Prevent unused argument(s) compilation warning */
  UNUSED(huart);

  /* NOTE : This function should not be modified, when the callback is needed,
            the HAL_SPI_ErrorCallback should be implemented in the user file
   */
  /* NOTE : The ErrorCode parameter in the hspi handle is updated by the SPI processes
            and user can use HAL_SPI_GetError() API to check the latest error occurred
   */
//  error_count++;
//  HAL_SPI_Abort_IT(&hspi1);
//  				HAL_SPI_Receive_DMA(&hspi1, spi_rx_buf, sizeof(spi_rx_buf));

}
/* USER CODE END 4 */

void Error_Handler(void) {
	__disable_irq();
	while (1) {
	}
}

/************************ (C) COPYRIGHT STMicroelectronics *****END OF FILE****/
